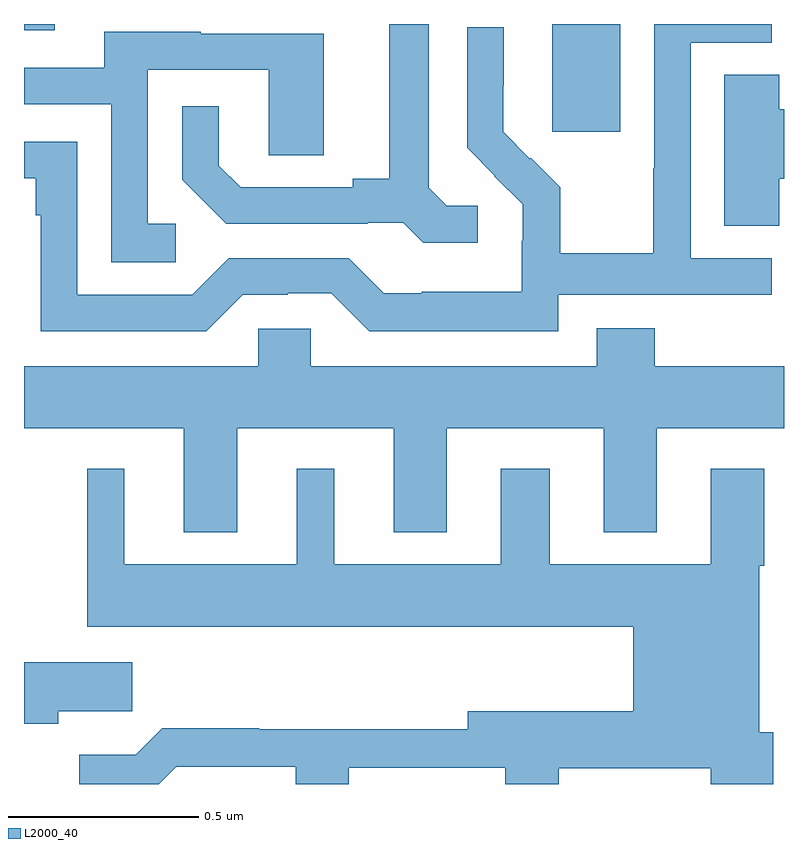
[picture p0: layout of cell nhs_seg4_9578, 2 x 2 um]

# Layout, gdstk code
import gdstk
lib = gdstk.Library(unit=1e-6, precision=1e-09)
def R(c, l, rs):  # rectangles x0, y0, x1, y1
    for r in rs: c.add(gdstk.rectangle(r[:2], r[2:], *l))
def P(c, l, *ps):  # polygons
    for p in ps: c.add(gdstk.Polygon(p, *l))
L2000_40 = (2000, 40)

nhs_seg4_9578 = lib.new_cell('nhs_seg4_9578')
R(nhs_seg4_9578, L2000_40, [(230.39,781.617,230.569,781.9), (229,781.884,229.081,781.9)])
P(nhs_seg4_9578, L2000_40, [(230.194,781.422),(230.112,781.422),(230.065,781.469),(230.065,781.9),(229.961,781.9),(229.961,781.493),(229.865,781.493),(229.865,781.47),(229.57,781.47),(229.513,781.527),(229.513,781.684),(229.416,781.684),(229.416,781.49),(229.532,781.374),(229.904,781.374),(229.904,781.377),(229.998,781.377),(230.05,781.325),(230.194,781.325)],
  [(230.406,781.188),(230.968,781.188),(230.968,781.284),(230.754,781.284),(230.754,781.851),(230.968,781.851),(230.968,781.9),(230.658,781.9),(230.658,781.52),(230.656,781.52),(230.656,781.297),(230.411,781.297),(230.411,781.471),(230.334,781.548),(230.331,781.545),(230.261,781.616),(230.261,781.738),(230.262,781.738),(230.262,781.892),(230.166,781.892),(230.166,781.574),(230.239,781.501),(230.238,781.5),(230.312,781.426),(230.312,781.329),(230.31,781.329),(230.31,781.195),(230.047,781.195),(230.047,781.191),(229.947,781.191),(229.854,781.284),(229.539,781.284),(229.443,781.188),(229.14,781.188),(229.14,781.59),(229,781.59),(229,781.494),(229.031,781.494),(229.031,781.397),(229.044,781.397),(229.044,781.092),(229.479,781.092),(229.575,781.188),(229.694,781.188),(229.694,781.191),(229.809,781.191),(229.909,781.091),(230.406,781.091)],
  [(229.399,781.374),(229.326,781.374),(229.326,781.779),(229.644,781.779),(229.644,781.555),(229.789,781.555),(229.789,781.875),(229.465,781.875),(229.465,781.879),(229.211,781.879),(229.211,781.785),(229,781.785),(229,781.689),(229.23,781.689),(229.23,781.273),(229.399,781.273)],
  [(230.987,781.493),(231,781.493),(231,781.676),(230.987,781.676),(230.987,781.766),(230.843,781.766),(230.843,781.369),(230.987,781.369)],
  [(229.561,780.836),(229.973,780.836),(229.973,780.563),(230.113,780.563),(230.113,780.836),(230.525,780.836),(230.525,780.563),(230.665,780.563),(230.665,780.836),(231,780.836),(231,781),(230.66,781),(230.66,781.099),(230.507,781.099),(230.507,781),(229.755,781),(229.755,781.098),(229.617,781.098),(229.617,781),(229,781),(229,780.836),(229.421,780.836),(229.421,780.563),(229.561,780.563)],
  [(229.401,779.946),(229.715,779.946),(229.715,779.9),(229.855,779.9),(229.855,779.943),(230.267,779.943),(230.267,779.9),(230.407,779.9),(230.407,779.942),(230.807,779.942),(230.807,779.9),(230.972,779.9),(230.972,780.036),(230.935,780.036),(230.935,780.474),(230.948,780.474),(230.948,780.73),(230.807,780.73),(230.807,780.478),(230.383,780.478),(230.383,780.73),(230.255,780.73),(230.255,780.478),(229.816,780.478),(229.816,780.73),(229.718,780.73),(229.718,780.478),(229.264,780.478),(229.264,780.73),(229.166,780.73),(229.166,780.314),(230.603,780.314),(230.603,780.091),(230.168,780.091),(230.168,780.044),(229.619,780.044),(229.619,780.047),(229.364,780.047),(229.294,779.977),(229.145,779.977),(229.145,779.9),(229.355,779.9)],
  [(229.09,780.091),(229.285,780.091),(229.285,780.22),(229,780.22),(229,780.059),(229.09,780.059)])

lib.write_gds('nhs_seg4_9578.gds')
